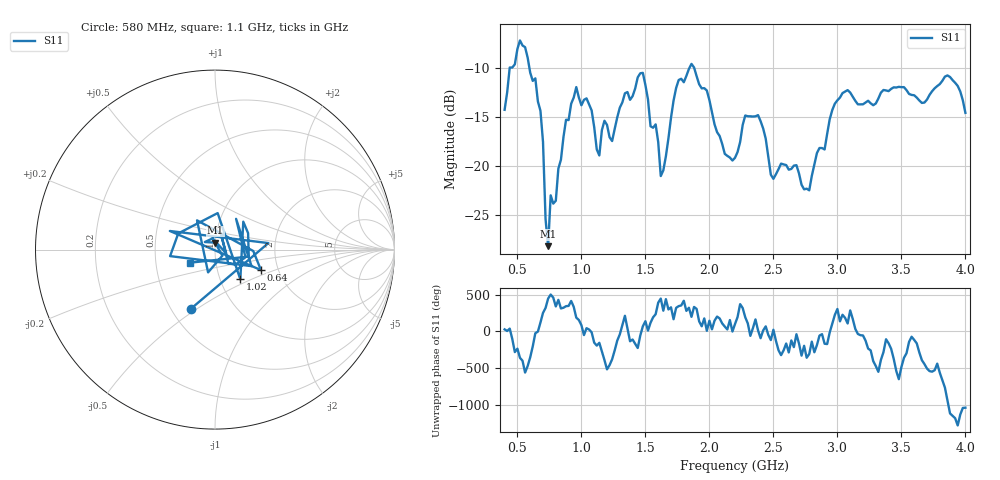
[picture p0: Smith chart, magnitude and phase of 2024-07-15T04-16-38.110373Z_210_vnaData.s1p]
!Created with skrf (http://scikit-rf.org).
# Hz S RI R 50.0
!freq ReS11 ImS11
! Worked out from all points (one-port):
!   181 points, 400 MHz to 4 GHz, reference 50 ohm
!   lowest |S11| = -28.2 dB at 740 MHz (marker M1), VSWR 1.08, Z = 49.9 + j3.88 ohm
!   |S11| at or under -10 dB: start of sweep to 439.5 MHz; 593.9 MHz to 1.843 GHz (1.249 GHz wide, 103 % of centre); 1.882 GHz to end of sweep
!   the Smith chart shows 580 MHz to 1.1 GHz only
!   S11 on the Smith chart (normalised r, x): 580 MHz: 0.62, -0.47; 640 MHz: 1.63, -0.40; 1.02 GHz: 1.25, -0.43; 1.1 GHz: 0.75, -0.11
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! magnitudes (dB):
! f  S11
! 400 MHz  -14.3
! 520 MHz  -7.2
! 580 MHz  -8.9
! 640 MHz  -11.0
! 700 MHz  -17.5
! 740 MHz  -28.2
! 760 MHz  -23.0
! 800 MHz  -23.6
! 860 MHz  -17.0
! 960 MHz  -11.9
! 1.02 GHz  -13.2
! 1.1 GHz  -16.0
! 1.14 GHz  -18.9
! 1.3 GHz  -14.0
! 1.48 GHz  -10.5
! 1.62 GHz  -21.0
! 1.76 GHz  -11.2
! 1.88 GHz  -9.9
! 2.2 GHz  -19.2
! 2.38 GHz  -14.8
! 2.5 GHz  -21.3
! 2.66 GHz  -20.0
! 2.78 GHz  -22.5
! 2.98 GHz  -13.6
! 3.1 GHz  -12.5
! 3.56 GHz  -12.6
! 3.86 GHz  -10.7
! 4 GHz  -14.6
